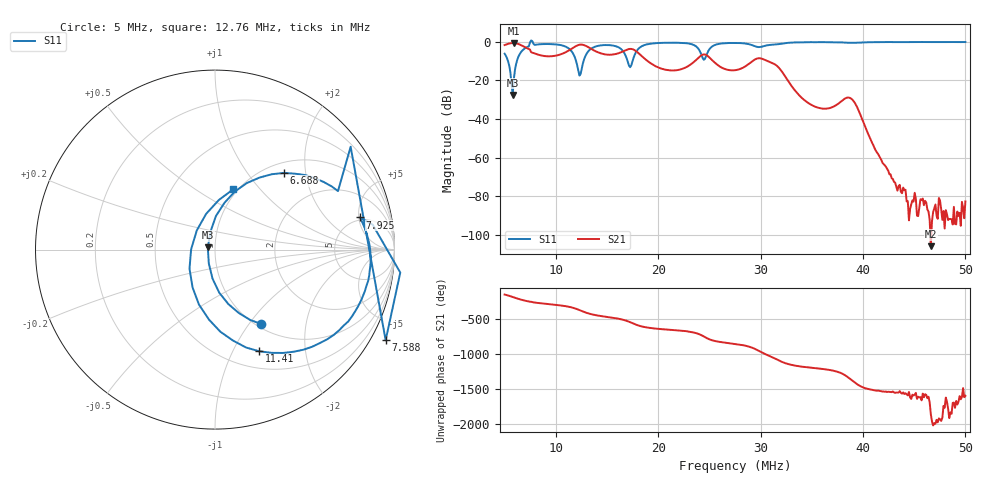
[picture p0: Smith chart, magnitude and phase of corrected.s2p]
! S11/S21 only; reverse parameters are placeholders. Device calibration unverified.
! [Saver CAL applied] C:\Users\aknya\MyProjects\rf-simulator\calibration2.cal | Ideal standards assumed | Input: NanoVNA F V2 profile | COM3 | 2026-09-08T12:12:23.8114026-04:00 | device calibration unverified
# HZ S RI R 50
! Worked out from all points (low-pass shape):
!   401 points, 5 MHz to 50 MHz, reference 50 ohm
!   highest |S21| = -0.69 dB at 5.9 MHz (marker M1); lowest = -105.8 dB at 46.62 MHz (marker M2)
!   |S21| within 3 dB of the highest: start of sweep to 7.321 MHz; 11.52 MHz to 13.45 MHz (1.932 MHz wide, 15.5 % of centre)
!   lowest |S11| = -27.5 dB at 5.787 MHz (marker M3), VSWR 1.09, Z = 46.1 + j1.13 ohm
!   |S11| at or under -10 dB: 5.33 MHz to 6.202 MHz (871.9 kHz wide, 15.1 % of centre); 11.98 MHz to 12.71 MHz (733.4 kHz wide, 5.94 % of centre); 17 MHz to 17.49 MHz (488.8 kHz wide, 2.83 % of centre)
!   S12 and S22 are empty: the file has one direction only
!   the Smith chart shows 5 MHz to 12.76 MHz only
!   S11 on the Smith chart (normalised r, x): 5 MHz: 1.05, -1.15; 6.688 MHz: 1.19, +1.52; 7.588 MHz: -0.62, -3.92; 7.925 MHz: 4.56, +5.20; 11.41 MHz: 0.70, -1.27; 12.76 MHz: 0.95, +0.73
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5000000  0.2587 -0.4152  -0.64 -0.5087  0 0  0 0
5787500  -0.0402 0.0122  -0.9206 -0.0635  0 0  0 0
5900000  -0.0238 0.1041  -0.9234 0.0288  0 0  0 0
6687500  0.385 0.4272  -0.6243 0.4925  0 0  0 0
7587500  0.9508 -0.505  -0.2209 0.4908  0 0  0 0
7925000  0.808 0.1794  -0.1186 0.4846  0 0  0 0
1.14125e7  0.2452 -0.5662  0.4916 0.3874  0 0  0 0
1.25375e7  -0.0495 0.199  0.7974 -0.261  0 0  0 0
1.27625e7  0.1018 0.3362  0.6952 -0.423  0 0  0 0
1.49e7  0.807 -0.1385  -0.0912 -0.4569  0 0  0 0
1.63625e7  0.3532 -0.5457  -0.3834 -0.3671  0 0  0 0
1.715e7  -0.2046 -0.1252  -0.6393 -0.0907  0 0  0 0
1.805e7  0.3372 0.5529  -0.3591 0.3665  0 0  0 0
2.0075e7  0.925 0.0629  0.0195 0.2113  0 0  0 0
2.435e7  0.2997 -0.2233  0.445 -0.1232  0 0  0 0
2.75e7  0.8382 -0.4015  -0.1199 -0.1384  0 0  0 0
3.11e7  0.7254 -0.4087  0.2133 0.1865  0 0  0 0
3.50375e7  0.7028 -0.6698  -0.00925 -0.0207  0 0  0 0
3.88625e7  0.5393 -0.7656  0.00982 0.032  0 0  0 0
4.2575e7  0.4417 -0.871  -6.89e-05 -0.000367  0 0  0 0
4.6625e7  0.2827 -0.9385  2.3e-06 -4.6e-06  0 0  0 0
5e7  0.1555 -0.9678  -6.82e-05 -2.88e-05  0 0  0 0
